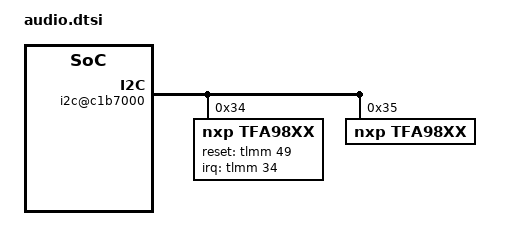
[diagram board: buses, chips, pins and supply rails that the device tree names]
&soc {
	i2c@c1b7000 { /* BLSP2 QUP3 */
		tfa98xx@34 { /* Bottom */
			compatible = "nxp,tfa98xx";
			reg = <0x34>;
			reset-gpio = <&tlmm 49 0>;
			irq-gpio = <&tlmm 34 0>;
		};

		tfa98xx@35 { /* Top */
			compatible = "nxp,tfa98xx";
			reg = <0x35>;
		};
	};

	spi@c1b8000 { /* BLSP2 QUP4 */
		status = "disabled";
	};

	sound-9335 {
		qcom,audio-routing =
			"AIF4 VI", "MCLK",
			"RX_BIAS", "MCLK",
			"MADINPUT", "MCLK",
			"DMIC0", "MIC BIAS1",
			"MIC BIAS1", "Digital Mic1",
			"DMIC3", "MIC BIAS3",
			"MIC BIAS3", "Digital Mic2",
			"EAR Switch", "EAR";

		/delete-property/ qcom,us-euro-gpios;
		/delete-property/ qcom,hph-en0-gpio;
		/delete-property/ qcom,hph-en1-gpio;

		qcom,wsa-max-devs = <0>;

		/delete-property/ qcom,wsa-devs;
		/delete-property/ qcom,wsa-aux-dev-prefix;

		fih,ear-switch-en-gpio = <&ear_switch_en_gpio>;
		fih,ear-switch-in-gpio = <&ear_switch_in_gpio>;

		hph_en0_gpio: msm_cdc_pinctrl@67 {
			status = "disabled";
		};

		hph_en1_gpio: msm_cdc_pinctrl@68 {
			status = "disabled";
		};
	};

	sound-tavil {
		status = "disabled";
	};

	msm_cdc_pinctrl@75 {
		status = "disabled";
	};

	msm_cdc_pinctrl@59 {
		status = "disabled";
	};

	msm_cdc_pinctrl@60 {
		status = "disabled";
	};
};

&slim_aud {
	tasha_codec {
		swr_master {
			wsa881x@20170211 {
				status = "disabled";
			};

			wsa881x@20170212 {
				status = "disabled";
			};

			wsa881x@21170213 {
				status = "disabled";
			};

			wsa881x@21170214 {
				status = "disabled";
			};
		};
	};
};
